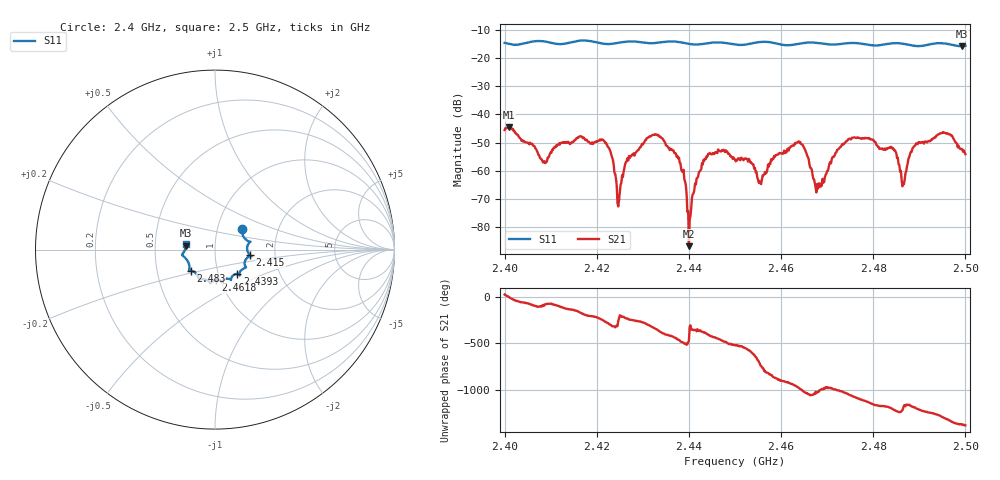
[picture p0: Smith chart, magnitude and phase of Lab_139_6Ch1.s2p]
# Hz S RI R 50
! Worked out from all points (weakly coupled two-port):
!   601 points, 2.4 GHz to 2.5 GHz, reference 50 ohm
!   highest |S21| = -44.58 dB at 2.401 GHz (marker M1); lowest = -86.9 dB at 2.44 GHz (marker M2)
!   lowest |S11| = -15.7 dB at 2.4993 GHz (marker M3), VSWR 1.39, Z = 36 + j1.56 ohm
!   |S11| at or under -10 dB: start of sweep to end of sweep
!   S12 and S22 are empty: the file has one direction only
!   S11 on the Smith chart (normalised r, x): 2.4 GHz: 1.31, +0.31; 2.415 GHz: 1.48, -0.10; 2.4393 GHz: 1.23, -0.35; 2.4618 GHz: 0.95, -0.34; 2.483 GHz: 0.74, -0.18; 2.5 GHz: 0.72, +0.05
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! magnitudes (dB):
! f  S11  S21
! 2.4 GHz  -14.5  -45.6
! 2.401 GHz  -14.9  -44.6
! 2.4087 GHz  -14.0  -56.6
! 2.415 GHz  -14.1  -49.5
! 2.4167 GHz  -13.7  -47.8
! 2.4222 GHz  -14.9  -50.6
! 2.4248 GHz  -14.4  -70.6
! 2.4333 GHz  -14.4  -47.3
! 2.4393 GHz  -14.7  -65.4
! 2.44 GHz  -14.9  -86.9
! 2.444 GHz  -14.7  -55.0
! 2.45 GHz  -15.1  -56.0
! 2.4553 GHz  -14.2  -63.8
! 2.4618 GHz  -15.3  -51.8
! 2.4667 GHz  -14.4  -59.7
! 2.4752 GHz  -14.6  -48.9
! 2.483 GHz  -14.9  -52.3
! 2.4833 GHz  -14.8  -51.9
! 2.4867 GHz  -14.9  -64.8
! 2.4897 GHz  -15.7  -50.6
! 2.4993 GHz  -15.7  -52.5
! 2.5 GHz  -15.6  -54.1
